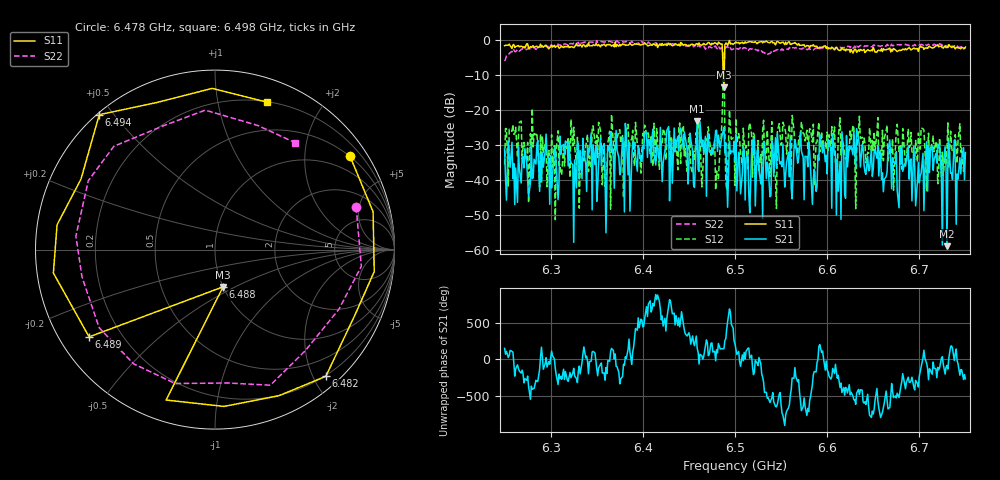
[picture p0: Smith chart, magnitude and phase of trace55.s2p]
# Hz S RI R 50
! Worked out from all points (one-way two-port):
!   401 points, 6.25 GHz to 6.75 GHz, reference 50 ohm
!   highest |S21| = -23.03 dB at 6.459 GHz (marker M1); lowest = -58.8 dB at 6.73 GHz (marker M2)
!   lowest |S11| = -13.5 dB at 6.488 GHz (marker M3), VSWR 1.54, Z = 50 - j21.7 ohm
!   |S11| at or under -10 dB: 6.48744 GHz to 6.488286 GHz (846.2 kHz wide, 0.013 % of centre)
!   |S22| runs from -5.9 to -0.1 dB; largest |S21 - S12| = 0.75
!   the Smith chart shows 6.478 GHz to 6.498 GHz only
!   S11 on the Smith chart (normalised r, x): 6.478 GHz: 0.48, +3.11; 6.482 GHz: 0.19, -2.19; 6.488 GHz: 1.00, -0.43; 6.489 GHz: 0.09, -0.31; 6.494 GHz: 0.01, +0.46; 6.498 GHz: 0.20, +1.40
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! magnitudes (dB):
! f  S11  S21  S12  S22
! 6.25 GHz  -1.5  -31.0  -35.5  -5.9
! 6.282 GHz  -2.1  -34.0  -26.6  -2.2
! 6.334 GHz  -1.9  -39.5  -35.1  -0.8
! 6.348 GHz  -1.6  -35.5  -29.1  -0.8
! 6.359 GHz  -1.4  -38.9  -41.7  -0.5
! 6.372 GHz  -1.2  -31.4  -28.1  -0.2
! 6.418 GHz  -1.2  -34.6  -36.9  -1.0
! 6.459 GHz  -1.1  -23.0  -31.3  -2.0
! 6.478 GHz  -0.8  -28.9  -28.6  -1.7
! 6.482 GHz  -0.6  -27.1  -39.5  -1.8
! 6.488 GHz  -13.5  -24.9  -3.2  -2.2
! 6.489 GHz  -1.4  -32.1  -26.2  -2.4
! 6.494 GHz  -0.1  -28.8  -20.0  -2.5
! 6.498 GHz  -1.2  -31.9  -27.9  -2.6
! 6.5 GHz  -0.8  -34.7  -41.4  -2.3
! 6.584 GHz  -1.6  -46.8  -29.1  -2.6
! 6.594 GHz  -2.0  -30.2  -26.1  -2.3
! 6.612 GHz  -2.8  -43.1  -27.9  -2.1
! 6.626 GHz  -2.6  -30.2  -28.3  -1.7
! 6.668 GHz  -2.2  -28.5  -31.2  -1.2
! 6.73 GHz  -2.1  -58.8  -30.8  -1.9
! 6.75 GHz  -2.0  -32.1  -33.5  -2.4
